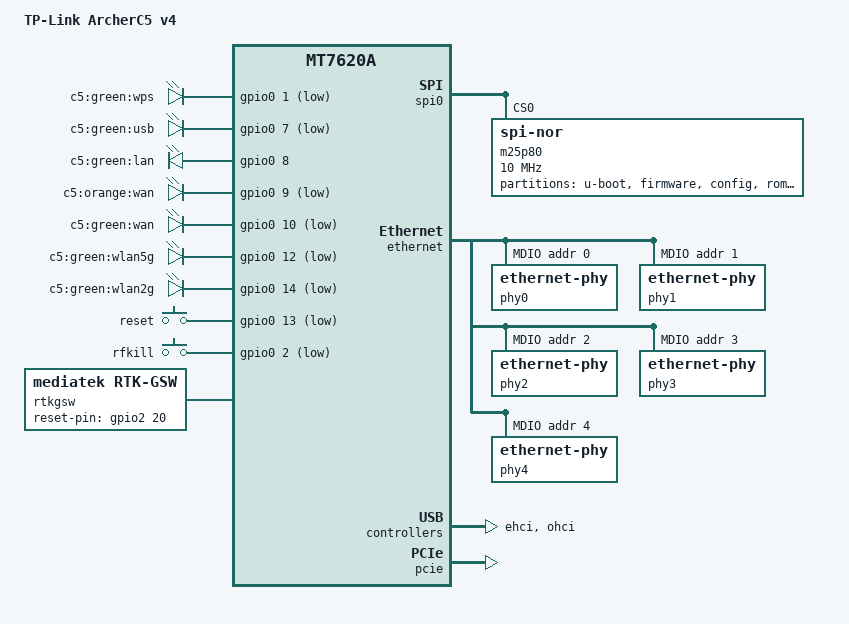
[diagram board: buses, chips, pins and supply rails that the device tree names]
/dts-v1/;

#include "mt7620a.dtsi"

#include <dt-bindings/input/input.h>
#include <dt-bindings/gpio/gpio.h>

/ {
	compatible = "tplink,c5", "ralink,mt7620a-soc";
	model = "TP-Link ArcherC5 v4";

	chosen {
		bootargs = "console=ttyS0,115200";
	};

	gpio-leds {
		compatible = "gpio-leds";

		wps {
			label = "c5:green:wps";
			gpios = <&gpio0 1 GPIO_ACTIVE_LOW>;
		};

		usb {
			label = "c5:green:usb";
			gpios = <&gpio0 7 GPIO_ACTIVE_LOW>;
		};
		lan {
			label = "c5:green:lan";
			gpios = <&gpio0 8 GPIO_ACTIVE_HIGH>;
		};
		wan_orange {
			label = "c5:orange:wan";
			gpios = <&gpio0 9 GPIO_ACTIVE_LOW>;
		};
		wan {
			label = "c5:green:wan";
			gpios = <&gpio0 10 GPIO_ACTIVE_LOW>;
		};
		wlan5g {
			label = "c5:green:wlan5g";
			gpios = <&gpio0 12 GPIO_ACTIVE_LOW>;
		};
		wlan2g {
			label = "c5:green:wlan2g";
			gpios = <&gpio0 14 GPIO_ACTIVE_LOW>;
		};

	};

	gpio-keys-polled {
		compatible = "gpio-keys-polled";
		#address-cells = <1>;
		#size-cells = <0>;
		poll-interval = <20>;

		reset {
			label = "reset";
			gpios = <&gpio0 13 GPIO_ACTIVE_LOW>;
			linux,code = <KEY_RESTART>;
		};

		rfkill {
			label = "rfkill";
			gpios = <&gpio0 2 GPIO_ACTIVE_LOW>;
			linux,code = <KEY_RFKILL>;
		};	
	};

	rtkgsw {
		compatible = "mediatek,rtk-gsw";
		mediatek,mdio = <&mdio0>;
		mediatek,reset-pin = <&gpio2 20 0>;
	};
};

&gpio2 {
        status = "okay";
};

&spi0 {
	status = "okay";

	m25p80@0 {
		#address-cells = <1>;
		#size-cells = <1>;
		compatible = "jedec,spi-nor";
		reg = <0>;
		spi-max-frequency = <10000000>;

		partition@0 {
			label = "u-boot";
			reg = <0x0 0x20000>;
			read-only;
		};

		partition@20000 {
			label = "firmware";
			reg = <0x20000 0x7a0000>;
		};

		partition@7c0000 {
			label = "config";
			reg = <0x7c0000 0x10000>;
			read-only;
		};

		rom: partition@7d0000 {
			label = "rom";
			reg = <0x7d0000 0x10000>;
			read-only;
		};

		partition@7e0000 {
			label = "romfile";
			reg = <0x7e0000 0x10000>;
			read-only;
		};

		radio: partition@7f0000 {
			label = "radio";
			reg = <0x7f0000 0x10000>;
			read-only;
		};
	};
};

&pinctrl {
	state_default: pinctrl0 {
		gpio {
			ralink,group = "i2c", "uartf", "rgmii2";
			ralink,function = "gpio";
		};
	};
};

&ethernet {
	pinctrl-names = "default";
	mtd-mac-address = <&rom 0xf100>;
	pinctrl-0 = <&rgmii1_pins &mdio_pins>;

	port@5 {
		status = "okay";
		mediatek,fixed-link = <1000 1 1 1>;
		phy-mode = "rgmii";
	};

	mdio0: mdio-bus {
		status = "okay";
		phy0: ethernet-phy@0 {
		        reg = <0>;
		        phy-mode = "rgmii";
		};

		phy1: ethernet-phy@1 {
		        reg = <1>;
		        phy-mode = "rgmii";
		};

		phy2: ethernet-phy@2 {
		        reg = <2>;
		        phy-mode = "rgmii";
		};

		phy3: ethernet-phy@3 {
		        reg = <3>;
		        phy-mode = "rgmii";
		};

		phy4: ethernet-phy@4 {
		        reg = <4>;
		        phy-mode = "rgmii";
		};

    };
};

&ehci {
	status = "okay";
};

&ohci {
	status = "okay";
};

&gsw {
	mediatek,port4 = "gmac";
};

&pcie {
	status = "okay";
};
